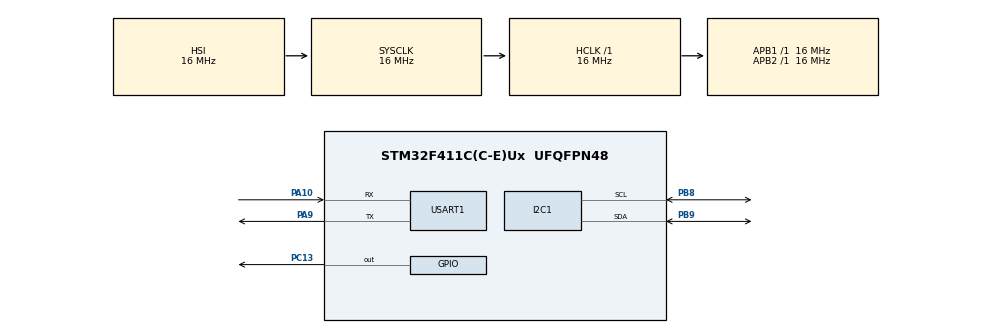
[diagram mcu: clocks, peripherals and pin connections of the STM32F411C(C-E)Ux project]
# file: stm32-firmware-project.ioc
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I2C1.I2C_Mode=I2C_Standard
Mcu.Family=STM32F4
Mcu.Name=STM32F411C(C-E)Ux
Mcu.Package=UFQFPN48
NVIC.PriorityGroup=NVIC_PRIORITYGROUP_4
PA10.Mode=Asynchronous
PA10.Signal=USART1_RX
PA9.Mode=Asynchronous
PA9.Signal=USART1_TX
PB8.GPIO_Pu=GPIO_PULLUP
PB8.Mode=I2C
PB8.Signal=I2C1_SCL
PB9.GPIO_Pu=GPIO_PULLUP
PB9.Mode=I2C
PB9.Signal=I2C1_SDA
PC13-ANTI_TAMP.GPIO_PuPd=GPIO_NOPULL
PC13-ANTI_TAMP.Signal=GPIO_Output
ProjectManager.HeapSize=0x200
ProjectManager.StackSize=0x400
ProjectManager.TargetToolchain=STM32CubeIDE
RCC.AHBFreq_Value=16000000
RCC.APB1Freq_Value=16000000
RCC.APB2Freq_Value=16000000
RCC.CortexFreq_Value=16000000
RCC.HSE_VALUE=25000000
RCC.HSI_VALUE=16000000
RCC.LSE_VALUE=32768
RCC.SYSCLKFreq_VALUE=16000000
RCC.VCOOutputFreq_Value=192000000
USART1.VirtualMode=VM_ASYNC
board=custom

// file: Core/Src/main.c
/* USER CODE BEGIN Header */
/**
  ******************************************************************************
  * @file           : main.c
  * @brief          : Main program body
  ******************************************************************************
  * @attention
  *
  * Copyright (c) 2025 STMicroelectronics.
  * All rights reserved.
  *
  * This software is licensed under terms that can be found in the LICENSE file
  * in the root directory of this software component.
  * If no LICENSE file comes with this software, it is provided AS-IS.
  *
  ******************************************************************************
  */
/* USER CODE END Header */
#include "main.h"

/* USER CODE BEGIN Includes */
#include <string.h>
#include <stdio.h>

#include "mpu6050.h"
#include "MahonyAHRS.h"
//#include <string.h>
/* USER CODE END Includes */

/* USER CODE BEGIN PTD */
//I2C_HandleTypeDef hi2c1;
MPU6050_t mpu;
/* USER CODE END PTD */

/* USER CODE BEGIN PD */
#define DEG_TO_RAD (3.14159265359f / 180.0f);
// MPU6050 sensitivity scale factors
#define GYRO_SCALE_FACTOR   (250.0f / 32768.0f)  // ±250dps range
#define ACCEL_SCALE_FACTOR  (2.0f / 32768.0f)    // ±2g range
/* USER CODE END PD */

I2C_HandleTypeDef hi2c1;

UART_HandleTypeDef huart1; // I took away extern cuz it caused an error

/* USER CODE BEGIN PV */
uint8_t mpu_address = 0x68 << 1; // shifted for HAL // equal to 0xd0
uint8_t who_am_i_reg = 0x75;
uint8_t who_am_i_value = 0;
/* USER CODE END PV */

void SystemClock_Config(void);
static void MX_GPIO_Init(void);
static void MX_I2C1_Init(void);
static void MX_USART1_UART_Init(void);

int main(void)
{

  /* MCU Configuration--------------------------------------------------------*/

  /* Reset of all peripherals, Initializes the Flash interface and the Systick. */
  HAL_Init();

  /* Configure the system clock */
  SystemClock_Config();

  /* Initialize all configured peripherals */
  MX_GPIO_Init();
  MX_I2C1_Init();
  MX_USART1_UART_Init();
  /* USER CODE BEGIN 2 */
  HAL_I2C_Mem_Read(&hi2c1, mpu_address, who_am_i_reg, 1, &who_am_i_value, 1, HAL_MAX_DELAY);

  if (MPU6050_Init(&hi2c1) == HAL_OK) {
      char buf1[] = "MPU6050 connected.\r\n";
      HAL_UART_Transmit(&huart1, (uint8_t*)buf1, strlen(buf1), HAL_MAX_DELAY);
  } else {
      // handle failure
      char buf2[] = "MPU6050 not connected!\r\n";
      char buf3[] = "Retry all over!\r\n";
      while (1)
      {
    	  HAL_UART_Transmit(&huart1, (uint8_t*)buf2, strlen(buf2), HAL_MAX_DELAY);
    	  HAL_Delay(2500);
    	  HAL_UART_Transmit(&huart1, (uint8_t*)buf3, strlen(buf3), HAL_MAX_DELAY);
    	  HAL_Delay(2500);
      }
  }

  float roll, pitch, yaw;
  char buf[128];

  /* USER CODE END 2 */

  /* Infinite loop */
  while (1)
  {

    /* USER CODE BEGIN 3 */

	    MPU6050_Read_All(&hi2c1, &mpu);

	    // Convert raw values to physical units
	    float gx = mpu.gx * GYRO_SCALE_FACTOR * DEG_TO_RAD;  // rad/s
	    float gy = mpu.gy * GYRO_SCALE_FACTOR * DEG_TO_RAD;
	    float gz = mpu.gz * GYRO_SCALE_FACTOR * DEG_TO_RAD;
	    float ax = mpu.ax * ACCEL_SCALE_FACTOR;  // g
	    float ay = mpu.ay * ACCEL_SCALE_FACTOR;
	    float az = mpu.az * ACCEL_SCALE_FACTOR;

	    // Update Mahony filter (adjust sampleFreq as needed)
	    MahonyAHRSupdateIMU(gx, gy, gz, ax, ay, az);

	    // Debug print raw values
	    char debug_buf[128];
	    snprintf(debug_buf, sizeof(debug_buf),
	        "Raw: gx=%.2f, gy=%.2f, gz=%.2f, ax=%.2f, ay=%.2f, az=%.2f\r\n",
	        gx, gy, gz, ax, ay, az);
	    HAL_UART_Transmit(&huart1, (uint8_t*)debug_buf, strlen(debug_buf), HAL_MAX_DELAY);

	    // Convert quaternion to Euler
	    MahonyQuaternionToEuler(&roll, &pitch, &yaw);  // You define this conversion

	    // Convert to degrees for display
//	    roll *= (180.0f / 3.14159265359f);
//	    pitch *= (180.0f / 3.14159265359f);
//	    yaw *= (180.0f / 3.14159265359f);

	    // Send over UART (optional: use DMA)
	    snprintf(buf, sizeof(buf), "RPY:%.2f,%.2f,%.2f\r\n", roll, pitch, yaw);
	    HAL_UART_Transmit(&huart1, (uint8_t*)buf, strlen(buf), HAL_MAX_DELAY);

	    HAL_Delay(50);  //10 if ~100Hz
  }
  /* USER CODE END 3 */
}

void SystemClock_Config(void)
{
  RCC_OscInitTypeDef RCC_OscInitStruct = {0};
  RCC_ClkInitTypeDef RCC_ClkInitStruct = {0};

  /** Configure the main internal regulator output voltage
  */
  __HAL_RCC_PWR_CLK_ENABLE();
  __HAL_PWR_VOLTAGESCALING_CONFIG(PWR_REGULATOR_VOLTAGE_SCALE1);

  /** Initializes the RCC Oscillators according to the specified parameters
  * in the RCC_OscInitTypeDef structure.
  */
  RCC_OscInitStruct.OscillatorType = RCC_OSCILLATORTYPE_HSI;
  RCC_OscInitStruct.HSIState = RCC_HSI_ON;
  RCC_OscInitStruct.HSICalibrationValue = RCC_HSICALIBRATION_DEFAULT;
  RCC_OscInitStruct.PLL.PLLState = RCC_PLL_NONE;
  if (HAL_RCC_OscConfig(&RCC_OscInitStruct) != HAL_OK)
  {
    Error_Handler();
  }

  /** Initializes the CPU, AHB and APB buses clocks
  */
  RCC_ClkInitStruct.ClockType = RCC_CLOCKTYPE_HCLK|RCC_CLOCKTYPE_SYSCLK
                              |RCC_CLOCKTYPE_PCLK1|RCC_CLOCKTYPE_PCLK2;
  RCC_ClkInitStruct.SYSCLKSource = RCC_SYSCLKSOURCE_HSI;
  RCC_ClkInitStruct.AHBCLKDivider = RCC_SYSCLK_DIV1;
  RCC_ClkInitStruct.APB1CLKDivider = RCC_HCLK_DIV1;
  RCC_ClkInitStruct.APB2CLKDivider = RCC_HCLK_DIV1;

  if (HAL_RCC_ClockConfig(&RCC_ClkInitStruct, FLASH_LATENCY_0) != HAL_OK)
  {
    Error_Handler();
  }
}

static void MX_I2C1_Init(void)
{

  hi2c1.Instance = I2C1;
  hi2c1.Init.ClockSpeed = 100000;
  hi2c1.Init.DutyCycle = I2C_DUTYCYCLE_2;
  hi2c1.Init.OwnAddress1 = 0;
  hi2c1.Init.AddressingMode = I2C_ADDRESSINGMODE_7BIT;
  hi2c1.Init.DualAddressMode = I2C_DUALADDRESS_DISABLE;
  hi2c1.Init.OwnAddress2 = 0;
  hi2c1.Init.GeneralCallMode = I2C_GENERALCALL_DISABLE;
  hi2c1.Init.NoStretchMode = I2C_NOSTRETCH_DISABLE;
  if (HAL_I2C_Init(&hi2c1) != HAL_OK)
  {
    Error_Handler();
  }

}

static void MX_USART1_UART_Init(void)
{

  huart1.Instance = USART1;
  huart1.Init.BaudRate = 115200;
  huart1.Init.WordLength = UART_WORDLENGTH_8B;
  huart1.Init.StopBits = UART_STOPBITS_1;
  huart1.Init.Parity = UART_PARITY_NONE;
  huart1.Init.Mode = UART_MODE_TX_RX;
  huart1.Init.HwFlowCtl = UART_HWCONTROL_NONE;
  huart1.Init.OverSampling = UART_OVERSAMPLING_16;
  if (HAL_UART_Init(&huart1) != HAL_OK)
  {
    Error_Handler();
  }

}

static void MX_GPIO_Init(void)
{
  GPIO_InitTypeDef GPIO_InitStruct = {0};

  /* GPIO Ports Clock Enable */
  __HAL_RCC_GPIOC_CLK_ENABLE();
  __HAL_RCC_GPIOA_CLK_ENABLE();
  __HAL_RCC_GPIOB_CLK_ENABLE();

  /*Configure GPIO pin Output Level */
  HAL_GPIO_WritePin(GPIOC, GPIO_PIN_13, GPIO_PIN_RESET);

  /*Configure GPIO pin : PC13 */
  GPIO_InitStruct.Pin = GPIO_PIN_13;
  GPIO_InitStruct.Mode = GPIO_MODE_OUTPUT_PP;
  GPIO_InitStruct.Pull = GPIO_NOPULL;
  GPIO_InitStruct.Speed = GPIO_SPEED_FREQ_LOW;
  HAL_GPIO_Init(GPIOC, &GPIO_InitStruct);

}

void Error_Handler(void)
{
  __disable_irq();
  while (1)
  {
  }
}
